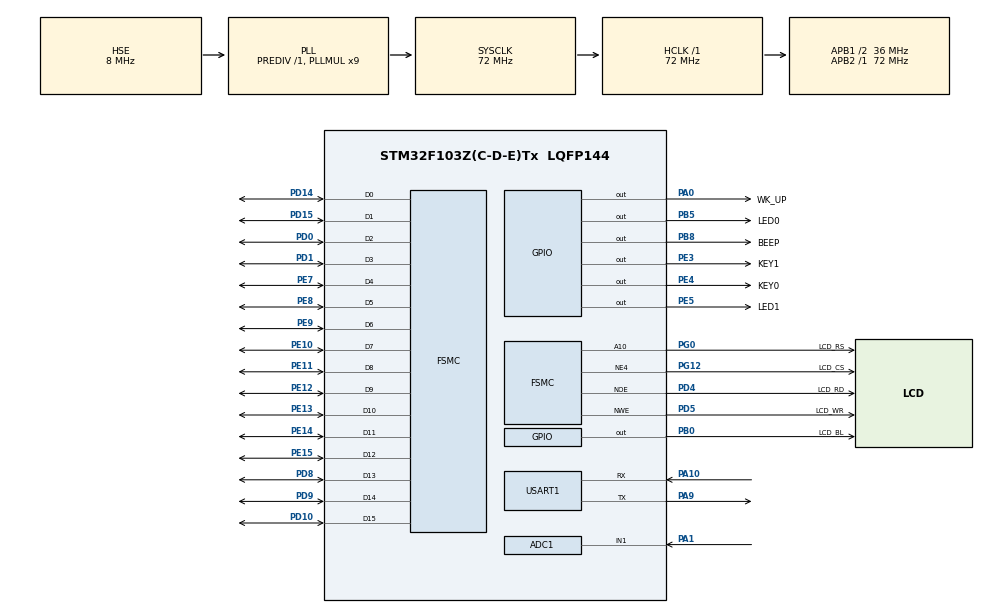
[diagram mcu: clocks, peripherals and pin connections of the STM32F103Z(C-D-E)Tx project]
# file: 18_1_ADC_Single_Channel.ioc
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ADC1.Channel-0\#ChannelRegularConversion=ADC_CHANNEL_1
ADC1.ContinuousConvMode=DISABLE
ADC1.NbrOfConversionFlag=1
ADC1.Rank-0\#ChannelRegularConversion=1
ADC1.SamplingTime-0\#ChannelRegularConversion=ADC_SAMPLETIME_239CYCLES_5
ADC1.master=1
FSMC.AddressSetupTime1=0
FSMC.BusTurnAroundDuration1=15
FSMC.DataSetupTime1=15
FSMC.ExtendedAddressSetupTime1=0
FSMC.ExtendedDataSetupTime1=1
FSMC.ExtendedMode1=FSMC_EXTENDED_MODE_ENABLE
Mcu.Family=STM32F1
Mcu.Name=STM32F103Z(C-D-E)Tx
Mcu.Package=LQFP144
NVIC.PriorityGroup=NVIC_PRIORITYGROUP_2
NVIC.USART1_IRQn=true\:2\:2\:true\:false\:true\:true\:true\:true
OSC_IN.Mode=HSE-External-Oscillator
OSC_IN.Signal=RCC_OSC_IN
OSC_OUT.Mode=HSE-External-Oscillator
OSC_OUT.Signal=RCC_OSC_OUT
PA0-WKUP.GPIO_Label=WK_UP
PA0-WKUP.GPIO_PuPd=GPIO_PULLDOWN
PA0-WKUP.GPIO_Speed=GPIO_SPEED_FREQ_HIGH
PA0-WKUP.PinState=GPIO_PIN_RESET
PA0-WKUP.Signal=GPIO_Output
PA1.Signal=ADCx_IN1
PA10.Mode=Asynchronous
PA10.Signal=USART1_RX
PA13.Mode=Serial_Wire
PA13.Signal=SYS_JTMS-SWDIO
PA14.Mode=Serial_Wire
PA14.Signal=SYS_JTCK-SWCLK
PA9.Mode=Asynchronous
PA9.Signal=USART1_TX
PB0.GPIO_Label=LCD_BL
PB0.GPIO_PuPd=GPIO_PULLUP
PB0.GPIO_Speed=GPIO_SPEED_FREQ_HIGH
PB0.PinState=GPIO_PIN_SET
PB0.Signal=GPIO_Output
PB5.GPIO_Label=LED0
PB5.GPIO_PuPd=GPIO_PULLUP
PB5.GPIO_Speed=GPIO_SPEED_FREQ_HIGH
PB5.PinState=GPIO_PIN_SET
PB5.Signal=GPIO_Output
PB8.GPIO_Label=BEEP
PB8.GPIO_ModeDefaultOutputPP=GPIO_MODE_OUTPUT_PP
PB8.GPIO_PuPd=GPIO_PULLDOWN
PB8.GPIO_Speed=GPIO_SPEED_FREQ_HIGH
PB8.PinState=GPIO_PIN_RESET
PB8.Signal=GPIO_Output
PC14-OSC32_IN.Mode=LSE-External-Oscillator
PC14-OSC32_IN.Signal=RCC_OSC32_IN
PC15-OSC32_OUT.Mode=LSE-External-Oscillator
PC15-OSC32_OUT.Signal=RCC_OSC32_OUT
PD0.Signal=FSMC_D2_DA2
PD1.Signal=FSMC_D3_DA3
PD10.Signal=FSMC_D15_DA15
PD14.Signal=FSMC_D0_DA0
PD15.Signal=FSMC_D1_DA1
PD4.GPIO_Label=LCD_RD
PD4.Signal=FSMC_NOE
PD5.GPIO_Label=LCD_WR
PD5.Signal=FSMC_NWE
PD8.Signal=FSMC_D13_DA13
PD9.Signal=FSMC_D14_DA14
PE10.Signal=FSMC_D7_DA7
PE11.Signal=FSMC_D8_DA8
PE12.Signal=FSMC_D9_DA9
PE13.Signal=FSMC_D10_DA10
PE14.Signal=FSMC_D11_DA11
PE15.Signal=FSMC_D12_DA12
PE3.GPIO_Label=KEY1
PE3.GPIO_PuPd=GPIO_PULLUP
PE3.GPIO_Speed=GPIO_SPEED_FREQ_HIGH
PE3.PinState=GPIO_PIN_SET
PE3.Signal=GPIO_Output
PE4.GPIO_Label=KEY0
PE4.GPIO_PuPd=GPIO_PULLUP
PE4.GPIO_Speed=GPIO_SPEED_FREQ_HIGH
PE4.PinState=GPIO_PIN_SET
PE4.Signal=GPIO_Output
PE5.GPIO_Label=LED1
PE5.GPIO_PuPd=GPIO_PULLUP
PE5.GPIO_Speed=GPIO_SPEED_FREQ_HIGH
PE5.PinState=GPIO_PIN_SET
PE5.Signal=GPIO_Output
PE7.Signal=FSMC_D4_DA4
PE8.Signal=FSMC_D5_DA5
PE9.Signal=FSMC_D6_DA6
PG0.GPIO_Label=LCD_RS
PG0.Signal=FSMC_A10
PG12.GPIO_Label=LCD_CS
PG12.Mode=NorPsramChipSelect4_1
PG12.Signal=FSMC_NE4
ProjectManager.HeapSize=0x200
ProjectManager.StackSize=0x400
ProjectManager.TargetToolchain=STM32CubeIDE
RCC.ADCPresc=RCC_ADCPCLK2_DIV6
RCC.AHBFreq_Value=72000000
RCC.APB1CLKDivider=RCC_HCLK_DIV2
RCC.APB1Freq_Value=36000000
RCC.APB1TimFreq_Value=72000000
RCC.APB2Freq_Value=72000000
RCC.APB2TimFreq_Value=72000000
RCC.HCLKFreq_Value=72000000
RCC.PLLMUL=RCC_PLL_MUL9
RCC.PLLSourceVirtual=RCC_PLLSOURCE_HSE
RCC.SYSCLKFreq_VALUE=72000000
RCC.SYSCLKSource=RCC_SYSCLKSOURCE_PLLCLK
RCC.USBFreq_Value=72000000
SH.ADCx_IN1.0=ADC1_IN1,IN1
SH.FSMC_A10.0=FSMC_A10,A10_1
SH.FSMC_D0_DA0.0=FSMC_D0,16b-d1
SH.FSMC_D10_DA10.0=FSMC_D10,16b-d1
SH.FSMC_D11_DA11.0=FSMC_D11,16b-d1
SH.FSMC_D12_DA12.0=FSMC_D12,16b-d1
SH.FSMC_D13_DA13.0=FSMC_D13,16b-d1
SH.FSMC_D14_DA14.0=FSMC_D14,16b-d1
SH.FSMC_D15_DA15.0=FSMC_D15,16b-d1
SH.FSMC_D1_DA1.0=FSMC_D1,16b-d1
SH.FSMC_D2_DA2.0=FSMC_D2,16b-d1
SH.FSMC_D3_DA3.0=FSMC_D3,16b-d1
SH.FSMC_D4_DA4.0=FSMC_D4,16b-d1
SH.FSMC_D5_DA5.0=FSMC_D5,16b-d1
SH.FSMC_D6_DA6.0=FSMC_D6,16b-d1
SH.FSMC_D7_DA7.0=FSMC_D7,16b-d1
SH.FSMC_D8_DA8.0=FSMC_D8,16b-d1
SH.FSMC_D9_DA9.0=FSMC_D9,16b-d1
SH.FSMC_NOE.0=FSMC_NOE,Lcd1
SH.FSMC_NWE.0=FSMC_NWE,Lcd1
USART1.VirtualMode=VM_ASYNC
board=custom

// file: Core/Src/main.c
/* USER CODE BEGIN Header */

/* USER CODE END Header */
#include "main.h"
#include "adc.h"
#include "usart.h"
#include "gpio.h"
#include "fsmc.h"

/* USER CODE BEGIN Includes */
#include "../../BSP/LED/led.h"
#include "../../BSP/BEEP/beep.h"
#include "../../BSP/KEY/key.h"
#include "../../BSP/LCD/lcd.h"
#include "../../SYSTEM/delay/delay.h"
#include "../../SYSTEM/sys/sys.h"
/* USER CODE END Includes */

void SystemClock_Config(void);

int main(void)
{
  /* USER CODE BEGIN 1 */
    uint16_t adcx;
    float temp;
  /* USER CODE END 1 */

  /* MCU Configuration--------------------------------------------------------*/

  /* Reset of all peripherals, Initializes the Flash interface and the Systick. */
  HAL_Init();

  /* Configure the system clock */
  SystemClock_Config();

  /* USER CODE BEGIN SysInit */
  delay_init(72);						   /* 初始化延时函数 */
  /* USER CODE END SysInit */

  /* Initialize all configured peripherals */
  MX_GPIO_Init();
  MX_FSMC_Init();
  MX_USART1_UART_Init();
  MX_ADC1_Init();
  /* USER CODE BEGIN 2 */
  lcd_init();                                         /* 初始化LCD */
  lcd_show_string(30, 50, 200, 16, 16, "STM32", RED);
  lcd_show_string(30, 70, 200, 16, 16, "ADC TEST", RED);
  lcd_show_string(30, 90, 200, 16, 16, "ATOM@ALIENTEK", RED);
  lcd_show_string(30, 110, 200, 16, 16, "ADC1_CH1_VAL:", BLUE);
  lcd_show_string(30, 130, 200, 16, 16, "ADC1_CH1_VOL:0.000V", BLUE); /* 先在固定位置显示小数点 */

  /* USER CODE END 2 */

  /* Infinite loop */
  /* USER CODE BEGIN WHILE */
  while (1)
  {
      adcx = adc_get_result_average(ADC_CHANNEL_1, 10);   /* 获取通道5的转换值，10次取平均 */
      lcd_show_xnum(134, 110, adcx, 5, 16, 0, BLUE);      /* 显示ADCC采样后的原始值 */

      temp = (float)adcx * (3.3 / 4096);                  /* 获取计算后的带小数的实际电压值，比如3.1111 */
      adcx = temp;                                        /* 赋值整数部分给adcx变量，因为adcx为u16整形 */
      lcd_show_xnum(134, 130, adcx, 1, 16, 0, BLUE);      /* 显示电压值的整数部分，3.1111的话，这里就是显示3 */

      temp -= adcx;                                       /* 把已经显示的整数部分去掉，留下小数部分，比如3.1111-3=0.1111 */
      temp *= 1000;                                       /* 小数部分乘以1000，例如：0.1111就转换为111.1，相当于保留三位小数。 */
      lcd_show_xnum(150, 130, temp, 3, 16, 0X80, BLUE);   /* 显示小数部分（前面转换为了整形显示），这里显示的就是111. */

      LED0_TOGGLE();
      delay_ms(100);

    /* USER CODE END WHILE */

  }
}

void SystemClock_Config(void)
{
  RCC_OscInitTypeDef RCC_OscInitStruct = {0};
  RCC_ClkInitTypeDef RCC_ClkInitStruct = {0};
  RCC_PeriphCLKInitTypeDef PeriphClkInit = {0};

  /** Initializes the RCC Oscillators according to the specified parameters
  * in the RCC_OscInitTypeDef structure.
  */
  RCC_OscInitStruct.OscillatorType = RCC_OSCILLATORTYPE_HSE;
  RCC_OscInitStruct.HSEState = RCC_HSE_ON;
  RCC_OscInitStruct.HSEPredivValue = RCC_HSE_PREDIV_DIV1;
  RCC_OscInitStruct.HSIState = RCC_HSI_ON;
  RCC_OscInitStruct.PLL.PLLState = RCC_PLL_ON;
  RCC_OscInitStruct.PLL.PLLSource = RCC_PLLSOURCE_HSE;
  RCC_OscInitStruct.PLL.PLLMUL = RCC_PLL_MUL9;
  if (HAL_RCC_OscConfig(&RCC_OscInitStruct) != HAL_OK)
  {
    Error_Handler();
  }

  /** Initializes the CPU, AHB and APB buses clocks
  */
  RCC_ClkInitStruct.ClockType = RCC_CLOCKTYPE_HCLK|RCC_CLOCKTYPE_SYSCLK
                              |RCC_CLOCKTYPE_PCLK1|RCC_CLOCKTYPE_PCLK2;
  RCC_ClkInitStruct.SYSCLKSource = RCC_SYSCLKSOURCE_PLLCLK;
  RCC_ClkInitStruct.AHBCLKDivider = RCC_SYSCLK_DIV1;
  RCC_ClkInitStruct.APB1CLKDivider = RCC_HCLK_DIV2;
  RCC_ClkInitStruct.APB2CLKDivider = RCC_HCLK_DIV1;

  if (HAL_RCC_ClockConfig(&RCC_ClkInitStruct, FLASH_LATENCY_2) != HAL_OK)
  {
    Error_Handler();
  }
  PeriphClkInit.PeriphClockSelection = RCC_PERIPHCLK_ADC;
  PeriphClkInit.AdcClockSelection = RCC_ADCPCLK2_DIV6;
  if (HAL_RCCEx_PeriphCLKConfig(&PeriphClkInit) != HAL_OK)
  {
    Error_Handler();
  }
}

void Error_Handler(void)
{
  __disable_irq();
  while (1)
  {
  }
}
